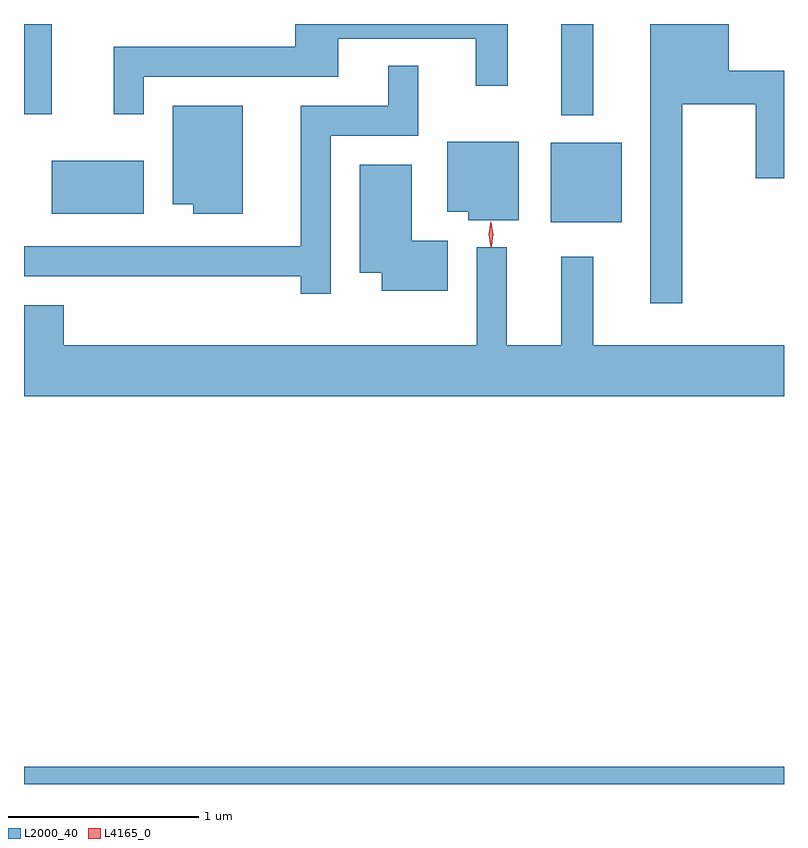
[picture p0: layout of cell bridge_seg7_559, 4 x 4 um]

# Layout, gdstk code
import gdstk
lib = gdstk.Library(unit=1e-6, precision=1e-09)
def R(c, l, rs):  # rectangles x0, y0, x1, y1
    for r in rs: c.add(gdstk.rectangle(r[:2], r[2:], *l))
def P(c, l, *ps):  # polygons
    for p in ps: c.add(gdstk.Polygon(p, *l))
L2000_40 = (2000, 40)
L4165_0 = (4165, 0)

bridge_seg7_559 = lib.new_cell('bridge_seg7_559')
R(bridge_seg7_559, L2000_40, [(976.204,1736.694,980.204,1736.784), (978.976,1739.651,979.349,1740.069), (976.351,1739.696,976.834,1739.974), (979.031,1740.213,979.199,1740.694), (976.204,1740.218,976.349,1740.694)])
P(bridge_seg7_559, L2000_40, [(976.834,1740.416),(977.859,1740.416),(977.859,1740.616),(978.581,1740.616),(978.581,1740.368),(978.749,1740.368),(978.749,1740.694),(977.631,1740.694),(977.631,1740.574),(976.676,1740.574),(976.676,1740.218),(976.834,1740.218)],
  [(979.669,1740.271),(980.056,1740.271),(980.056,1739.881),(980.204,1739.881),(980.204,1740.449),(979.914,1740.449),(979.914,1740.694),(979.501,1740.694),(979.501,1739.223),(979.669,1739.223)],
  [(977.819,1740.106),(978.279,1740.106),(978.279,1740.473),(978.121,1740.473),(978.121,1740.264),(977.661,1740.264),(977.661,1739.524),(976.204,1739.524),(976.204,1739.366),(977.661,1739.366),(977.661,1739.273),(977.819,1739.273)],
  [(977.354,1740.264),(976.986,1740.264),(976.986,1739.746),(977.096,1739.746),(977.096,1739.696),(977.354,1739.696)],
  [(978.809,1740.074),(978.431,1740.074),(978.431,1739.706),(978.541,1739.706),(978.541,1739.661),(978.809,1739.661)],
  [(978.434,1739.554),(978.244,1739.554),(978.244,1739.954),(977.971,1739.954),(977.971,1739.386),(978.086,1739.386),(978.086,1739.291),(978.434,1739.291)],
  [(980.204,1739.004),(979.199,1739.004),(979.199,1739.468),(979.031,1739.468),(979.031,1739.004),(978.744,1739.004),(978.744,1739.518),(978.586,1739.518),(978.586,1739.004),(976.414,1739.004),(976.414,1739.214),(976.204,1739.214),(976.204,1738.736),(980.204,1738.736)])
P(bridge_seg7_559, L4165_0, [(978.661,1739.52),(978.651,1739.588),(978.66,1739.655),(978.66,1739.655),(978.661,1739.655),(978.671,1739.588),(978.662,1739.52),(978.662,1739.52)],
  [(978.664,1739.523),(978.664,1739.524),(978.654,1739.587),(978.662,1739.651),(978.663,1739.651),(978.663,1739.651),(978.674,1739.587),(978.665,1739.524)])

lib.write_gds('bridge_seg7_559.gds')
